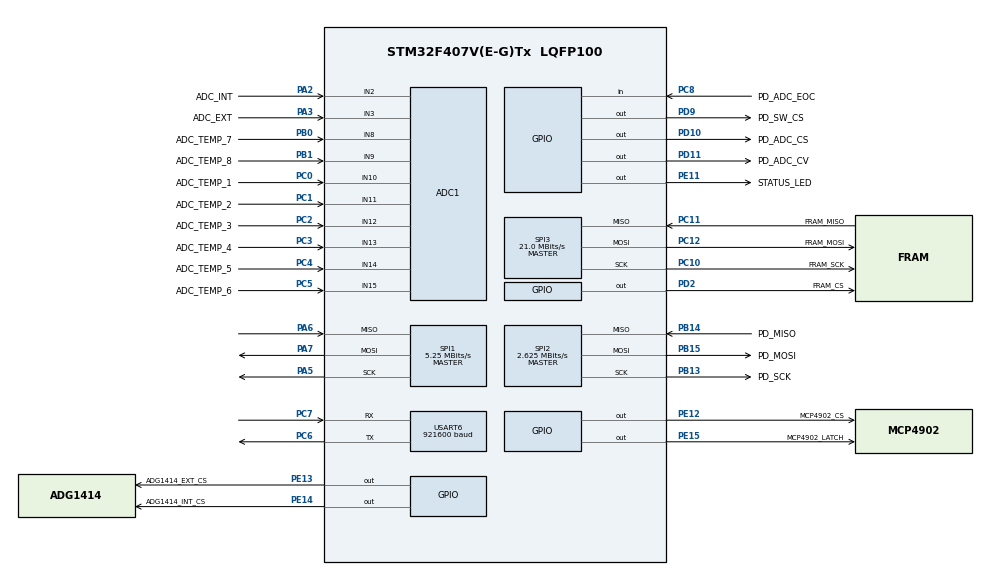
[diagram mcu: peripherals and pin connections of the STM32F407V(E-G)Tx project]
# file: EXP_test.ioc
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ADC1.Channel-0\#ChannelRegularConversion=ADC_CHANNEL_2
ADC1.Channel-1\#ChannelRegularConversion=ADC_CHANNEL_3
ADC1.Channel-2\#ChannelRegularConversion=ADC_CHANNEL_10
ADC1.Channel-3\#ChannelRegularConversion=ADC_CHANNEL_11
ADC1.Channel-4\#ChannelRegularConversion=ADC_CHANNEL_12
ADC1.Channel-5\#ChannelRegularConversion=ADC_CHANNEL_13
ADC1.Channel-6\#ChannelRegularConversion=ADC_CHANNEL_14
ADC1.Channel-7\#ChannelRegularConversion=ADC_CHANNEL_15
ADC1.Channel-8\#ChannelRegularConversion=ADC_CHANNEL_8
ADC1.Channel-9\#ChannelRegularConversion=ADC_CHANNEL_9
ADC1.ContinuousConvMode=ENABLE
ADC1.DMAContinuousRequests=ENABLE
ADC1.DiscontinuousConvMode=DISABLE
ADC1.NbrOfConversion=10
ADC1.NbrOfConversionFlag=1
ADC1.Rank-0\#ChannelRegularConversion=1
ADC1.Rank-1\#ChannelRegularConversion=2
ADC1.Rank-2\#ChannelRegularConversion=3
ADC1.Rank-3\#ChannelRegularConversion=4
ADC1.Rank-4\#ChannelRegularConversion=5
ADC1.Rank-5\#ChannelRegularConversion=6
ADC1.Rank-6\#ChannelRegularConversion=7
ADC1.Rank-7\#ChannelRegularConversion=8
ADC1.Rank-8\#ChannelRegularConversion=9
ADC1.Rank-9\#ChannelRegularConversion=10
ADC1.SamplingTime-0\#ChannelRegularConversion=ADC_SAMPLETIME_15CYCLES
ADC1.SamplingTime-1\#ChannelRegularConversion=ADC_SAMPLETIME_15CYCLES
ADC1.SamplingTime-2\#ChannelRegularConversion=ADC_SAMPLETIME_15CYCLES
ADC1.SamplingTime-3\#ChannelRegularConversion=ADC_SAMPLETIME_15CYCLES
ADC1.SamplingTime-4\#ChannelRegularConversion=ADC_SAMPLETIME_15CYCLES
ADC1.SamplingTime-5\#ChannelRegularConversion=ADC_SAMPLETIME_15CYCLES
ADC1.SamplingTime-6\#ChannelRegularConversion=ADC_SAMPLETIME_15CYCLES
ADC1.SamplingTime-7\#ChannelRegularConversion=ADC_SAMPLETIME_15CYCLES
ADC1.SamplingTime-8\#ChannelRegularConversion=ADC_SAMPLETIME_15CYCLES
ADC1.SamplingTime-9\#ChannelRegularConversion=ADC_SAMPLETIME_15CYCLES
ADC1.master=1
Dma.ADC1.0.Direction=DMA_PERIPH_TO_MEMORY
Dma.ADC1.0.FIFOMode=DMA_FIFOMODE_DISABLE
Dma.ADC1.0.Instance=DMA2_Stream0
Dma.ADC1.0.MemDataAlignment=DMA_MDATAALIGN_HALFWORD
Dma.ADC1.0.MemInc=DMA_MINC_ENABLE
Dma.ADC1.0.Mode=DMA_CIRCULAR
Dma.ADC1.0.PeriphDataAlignment=DMA_PDATAALIGN_HALFWORD
Dma.ADC1.0.PeriphInc=DMA_PINC_DISABLE
Dma.ADC1.0.Priority=DMA_PRIORITY_LOW
Dma.Request0=ADC1
Mcu.Family=STM32F4
Mcu.Name=STM32F407V(E-G)Tx
Mcu.Package=LQFP100
NVIC.DMA2_Stream0_IRQn=true\:0\:0\:false\:false\:true\:false\:true\:true
NVIC.PriorityGroup=NVIC_PRIORITYGROUP_4
NVIC.SPI2_IRQn=true\:0\:0\:false\:false\:true\:true\:true\:true
NVIC.TIM1_UP_TIM10_IRQn=true\:0\:0\:false\:false\:true\:true\:true\:true
NVIC.USART6_IRQn=true\:0\:0\:false\:false\:true\:true\:true\:true
PA13.Mode=Serial_Wire
PA13.Signal=SYS_JTMS-SWDIO
PA14.Mode=Serial_Wire
PA14.Signal=SYS_JTCK-SWCLK
PA2.GPIO_Label=ADC_INT
PA2.Signal=ADCx_IN2
PA3.GPIO_Label=ADC_EXT
PA3.Signal=ADCx_IN3
PA5.Mode=Full_Duplex_Master
PA5.Signal=SPI1_SCK
PA6.Mode=Full_Duplex_Master
PA6.Signal=SPI1_MISO
PA7.Mode=Full_Duplex_Master
PA7.Signal=SPI1_MOSI
PB0.GPIO_Label=ADC_TEMP_7
PB0.Signal=ADCx_IN8
PB1.GPIO_Label=ADC_TEMP_8
PB1.Signal=ADCx_IN9
PB13.GPIO_Label=PD_SCK
PB13.Mode=Full_Duplex_Master
PB13.Signal=SPI2_SCK
PB14.GPIO_Label=PD_MISO
PB14.Mode=Full_Duplex_Master
PB14.Signal=SPI2_MISO
PB15.GPIO_Label=PD_MOSI
PB15.Mode=Full_Duplex_Master
PB15.Signal=SPI2_MOSI
PC0.GPIO_Label=ADC_TEMP_1
PC0.Signal=ADCx_IN10
PC1.GPIO_Label=ADC_TEMP_2
PC1.Signal=ADCx_IN11
PC10.GPIO_Label=FRAM_SCK
PC10.Mode=Full_Duplex_Master
PC10.Signal=SPI3_SCK
PC11.GPIO_Label=FRAM_MISO
PC11.Mode=Full_Duplex_Master
PC11.Signal=SPI3_MISO
PC12.GPIO_Label=FRAM_MOSI
PC12.Mode=Full_Duplex_Master
PC12.Signal=SPI3_MOSI
PC2.GPIO_Label=ADC_TEMP_3
PC2.Signal=ADCx_IN12
PC3.GPIO_Label=ADC_TEMP_4
PC3.Signal=ADCx_IN13
PC4.GPIO_Label=ADC_TEMP_5
PC4.Signal=ADCx_IN14
PC5.GPIO_Label=ADC_TEMP_6
PC5.Signal=ADCx_IN15
PC6.Mode=Asynchronous
PC6.Signal=USART6_TX
PC7.Mode=Asynchronous
PC7.Signal=USART6_RX
PC8.GPIO_Label=PD_ADC_EOC
PC8.GPIO_PuPd=GPIO_PULLUP
PC8.Signal=GPIO_Input
PD10.GPIO_Label=PD_ADC_CS
PD10.GPIO_PuPd=GPIO_NOPULL
PD10.GPIO_Speed=GPIO_SPEED_FREQ_VERY_HIGH
PD10.PinState=GPIO_PIN_SET
PD10.Signal=GPIO_Output
PD11.GPIO_Label=PD_ADC_CV
PD11.GPIO_PuPd=GPIO_NOPULL
PD11.GPIO_Speed=GPIO_SPEED_FREQ_VERY_HIGH
PD11.PinState=GPIO_PIN_SET
PD11.Signal=GPIO_Output
PD2.GPIO_Label=FRAM_CS
PD2.Signal=GPIO_Output
PD9.GPIO_Label=PD_SW_CS
PD9.GPIO_PuPd=GPIO_NOPULL
PD9.PinState=GPIO_PIN_SET
PD9.Signal=GPIO_Output
PE11.GPIO_Label=STATUS_LED
PE11.PinState=GPIO_PIN_SET
PE11.Signal=GPIO_Output
PE12.GPIO_Label=MCP4902_CS
PE12.GPIO_Speed=GPIO_SPEED_FREQ_VERY_HIGH
PE12.PinState=GPIO_PIN_SET
PE12.Signal=GPIO_Output
PE13.GPIO_Label=ADG1414_EXT_CS
PE13.PinState=GPIO_PIN_SET
PE13.Signal=GPIO_Output
PE14.GPIO_Label=ADG1414_INT_CS
PE14.PinState=GPIO_PIN_SET
PE14.Signal=GPIO_Output
PE15.GPIO_Label=MCP4902_LATCH
PE15.PinState=GPIO_PIN_SET
PE15.Signal=GPIO_Output
PH0-OSC_IN.Mode=HSE-External-Oscillator
PH0-OSC_IN.Signal=RCC_OSC_IN
PH1-OSC_OUT.Mode=HSE-External-Oscillator
PH1-OSC_OUT.Signal=RCC_OSC_OUT
ProjectManager.HeapSize=0x200
ProjectManager.StackSize=0x400
ProjectManager.TargetToolchain=STM32CubeIDE
RCC.48MHZClocksFreq_Value=84000000
RCC.AHBFreq_Value=168000000
RCC.APB1CLKDivider=RCC_HCLK_DIV4
RCC.APB1Freq_Value=42000000
RCC.APB1TimFreq_Value=84000000
RCC.APB2CLKDivider=RCC_HCLK_DIV2
RCC.APB2Freq_Value=84000000
RCC.APB2TimFreq_Value=168000000
RCC.CortexFreq_Value=168000000
RCC.HCLKFreq_Value=168000000
RCC.HSE_VALUE=8000000
RCC.HSI_VALUE=16000000
RCC.LSE_VALUE=32768
RCC.PLLM=4
RCC.PLLN=168
RCC.PLLSourceVirtual=RCC_PLLSOURCE_HSE
RCC.SYSCLKFreq_VALUE=168000000
RCC.SYSCLKSource=RCC_SYSCLKSOURCE_PLLCLK
RCC.VCOOutputFreq_Value=336000000
SH.ADCx_IN10.0=ADC1_IN10,IN10
SH.ADCx_IN11.0=ADC1_IN11,IN11
SH.ADCx_IN12.0=ADC1_IN12,IN12
SH.ADCx_IN13.0=ADC1_IN13,IN13
SH.ADCx_IN14.0=ADC1_IN14,IN14
SH.ADCx_IN15.0=ADC1_IN15,IN15
SH.ADCx_IN2.0=ADC1_IN2,IN2
SH.ADCx_IN3.0=ADC1_IN3,IN3
SH.ADCx_IN8.0=ADC1_IN8,IN8
SH.ADCx_IN9.0=ADC1_IN9,IN9
SPI1.BaudRatePrescaler=SPI_BAUDRATEPRESCALER_16
SPI1.CLKPhase=SPI_PHASE_2EDGE
SPI1.CalculateBaudRate=5.25 MBits/s
SPI1.Direction=SPI_DIRECTION_2LINES
SPI1.Mode=SPI_MODE_MASTER
SPI1.VirtualType=VM_MASTER
SPI2.BaudRatePrescaler=SPI_BAUDRATEPRESCALER_16
SPI2.CLKPhase=SPI_PHASE_2EDGE
SPI2.CalculateBaudRate=2.625 MBits/s
SPI2.Direction=SPI_DIRECTION_2LINES
SPI2.Mode=SPI_MODE_MASTER
SPI2.VirtualType=VM_MASTER
SPI3.CalculateBaudRate=21.0 MBits/s
SPI3.DataSize=SPI_DATASIZE_16BIT
SPI3.Direction=SPI_DIRECTION_2LINES
SPI3.Mode=SPI_MODE_MASTER
SPI3.VirtualType=VM_MASTER
TIM1.AutoReloadPreload=TIM_AUTORELOAD_PRELOAD_ENABLE
TIM1.Period=2
TIM1.Prescaler=167
TIM1.TIM_MasterOutputTrigger=TIM_TRGO_RESET
USART6.BaudRate=921600
USART6.VirtualMode=VM_ASYNC
VP_TIM1_VS_ClockSourceINT.Mode=Internal
board=custom

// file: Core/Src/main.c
/* USER CODE BEGIN Header */
/**
  ******************************************************************************
  * @file           : main.c
  * @brief          : Main program body
  ******************************************************************************
  * @attention
  *
  * Copyright (c) 2025 STMicroelectronics.
  * All rights reserved.
  *
  * This software is licensed under terms that can be found in the LICENSE file
  * in the root directory of this software component.
  * If no LICENSE file comes with this software, it is provided AS-IS.
  *
  ******************************************************************************
  */
/* USER CODE END Header */
#include "main.h"

/* USER CODE BEGIN Includes */
#include "scheduler.h"
#include "command.h"
/* USER CODE END Includes */

/* USER CODE BEGIN PD */
uint16_t adc_rec_buf[50010];
uint16_t *adc_ptr = adc_rec_buf;
uint32_t adc_rec_ind = 0;
uint32_t adc_rec_total = 0;
/* USER CODE END PD */

/* USER CODE BEGIN PV */
MCP4902_Device_t DAC_device;
ADG1414_Device_t laser_int;
ADG1414_Device_t laser_ext;
ADC_DMA_Device_t mcu_adc;
ADG1414_Device_t photo_sw;
ADS8327_Device_t photo_adc;
/* USER CODE END PV */

void SystemClock_Config(void);
static void MX_GPIO_Init(void);
static void MX_DMA_Init(void);
static void MX_SPI1_Init(void);
static void MX_USART6_UART_Init(void);
static void MX_ADC1_Init(void);
static void MX_SPI2_Init(void);
static void MX_TIM1_Init(void);
static void MX_SPI3_Init(void);

/* USER CODE BEGIN 0 */

static void Status_Led(void*);

#define         SCHEDULER_TASK_COUNT  2
uint32_t g_ui32SchedulerNumTasks = SCHEDULER_TASK_COUNT;
tSchedulerTask g_psSchedulerTable[SCHEDULER_TASK_COUNT] = {
    {
        .pfnFunction = Status_Led,           // Hàm điều khiển LED trạng thái
        .pvParam = (void*)0,                 // Không có tham số
        .ui32FrequencyTicks = 500,           // Gọi mỗi 500ms (500 tick, giả sử 1 tick = 1ms)
        .ui32LastCall = 0,                   // Khởi tạo thời điểm gọi lần cuối
        .bActive = true                      // Kích hoạt
    },
    {
        .pfnFunction = command_task_update, // Hàm xử lý lệnh UART
        .pvParam = (void*)0,                 // Không có tham số
        .ui32FrequencyTicks = 10,             // Gọi mỗi 10ms (10 tick, giả sử 1 tick = 1ms)
        .ui32LastCall = 0,                   // Khởi tạo thời điểm gọi lần cuối
        .bActive = true                      // Kích hoạt
    }
};

void Status_Led(void*)
{
	LL_GPIO_TogglePin(GPIOE, LL_GPIO_PIN_11);
}

/* USER CODE END 0 */

int main(void)
{

  /* MCU Configuration--------------------------------------------------------*/

  /* Reset of all peripherals, Initializes the Flash interface and the Systick. */
  LL_APB2_GRP1_EnableClock(LL_APB2_GRP1_PERIPH_SYSCFG);
  LL_APB1_GRP1_EnableClock(LL_APB1_GRP1_PERIPH_PWR);

  /* System interrupt init*/
  NVIC_SetPriorityGrouping(NVIC_PRIORITYGROUP_4);

  /* SysTick_IRQn interrupt configuration */
  NVIC_SetPriority(SysTick_IRQn, NVIC_EncodePriority(NVIC_GetPriorityGrouping(),15, 0));

  /* Configure the system clock */
  SystemClock_Config();

  /* Initialize all configured peripherals */
  MX_GPIO_Init();
  MX_DMA_Init();
  MX_SPI1_Init();
  MX_USART6_UART_Init();
  MX_ADC1_Init();
  MX_SPI2_Init();
  MX_TIM1_Init();
  MX_SPI3_Init();
  /* USER CODE BEGIN 2 */

  MCP4902_Device_Init(&DAC_device, SPI1, MCP4902_CS_GPIO_Port, MCP4902_CS_Pin, MCP4902_LATCH_GPIO_Port, MCP4902_LATCH_Pin);

  ADG1414_Chain_Init(&laser_int, SPI1, ADG1414_INT_CS_GPIO_Port, ADG1414_INT_CS_Pin, INTERNAL_CHAIN_SWITCH_NUM);
  ADG1414_Chain_Init(&laser_ext, SPI1, ADG1414_EXT_CS_GPIO_Port, ADG1414_EXT_CS_Pin, EXTERNAL_CHAIN_SWITCH_NUM);

  ADC_DMA_Init(&mcu_adc, ADC1, DMA2, LL_DMA_STREAM_0, 10);

  ADG1414_Chain_Init(&photo_sw, SPI2, PD_SW_CS_GPIO_Port, PD_SW_CS_Pin, INTERNAL_CHAIN_SWITCH_NUM);
  ADS8327_Device_Init(&photo_adc, SPI2, PD_ADC_CS_GPIO_Port, PD_ADC_CS_Pin, PD_ADC_CV_GPIO_Port, PD_ADC_CV_Pin, PD_ADC_EOC_GPIO_Port, PD_ADC_EOC_Pin);
//  LL_TIM_EnableIT_UPDATE(TIM1);  // Bật ngắt Update
//  LL_TIM_EnableCounter(TIM1);    // Bật timer

  SchedulerInit(1000);
  command_init();

  /* USER CODE END 2 */

  /* Infinite loop */
  while (1)
  {

    /* USER CODE BEGIN 3 */
	  SchedulerRun();
  }
  /* USER CODE END 3 */
}

void SystemClock_Config(void)
{
  LL_FLASH_SetLatency(LL_FLASH_LATENCY_5);
  while(LL_FLASH_GetLatency()!= LL_FLASH_LATENCY_5)
  {
  }
  LL_PWR_SetRegulVoltageScaling(LL_PWR_REGU_VOLTAGE_SCALE1);
  LL_RCC_HSE_Enable();

   /* Wait till HSE is ready */
  while(LL_RCC_HSE_IsReady() != 1)
  {

  }
  LL_RCC_PLL_ConfigDomain_SYS(LL_RCC_PLLSOURCE_HSE, LL_RCC_PLLM_DIV_4, 168, LL_RCC_PLLP_DIV_2);
  LL_RCC_PLL_Enable();

   /* Wait till PLL is ready */
  while(LL_RCC_PLL_IsReady() != 1)
  {

  }
  while (LL_PWR_IsActiveFlag_VOS() == 0)
  {
  }
  LL_RCC_SetAHBPrescaler(LL_RCC_SYSCLK_DIV_1);
  LL_RCC_SetAPB1Prescaler(LL_RCC_APB1_DIV_4);
  LL_RCC_SetAPB2Prescaler(LL_RCC_APB2_DIV_2);
  LL_RCC_SetSysClkSource(LL_RCC_SYS_CLKSOURCE_PLL);

   /* Wait till System clock is ready */
  while(LL_RCC_GetSysClkSource() != LL_RCC_SYS_CLKSOURCE_STATUS_PLL)
  {

  }
  LL_Init1msTick(168000000);
  LL_SetSystemCoreClock(168000000);
}

static void MX_ADC1_Init(void)
{

  LL_ADC_InitTypeDef ADC_InitStruct = {0};
  LL_ADC_REG_InitTypeDef ADC_REG_InitStruct = {0};
  LL_ADC_CommonInitTypeDef ADC_CommonInitStruct = {0};

  LL_GPIO_InitTypeDef GPIO_InitStruct = {0};

  /* Peripheral clock enable */
  LL_APB2_GRP1_EnableClock(LL_APB2_GRP1_PERIPH_ADC1);

  LL_AHB1_GRP1_EnableClock(LL_AHB1_GRP1_PERIPH_GPIOC);
  LL_AHB1_GRP1_EnableClock(LL_AHB1_GRP1_PERIPH_GPIOA);
  LL_AHB1_GRP1_EnableClock(LL_AHB1_GRP1_PERIPH_GPIOB);
  /**ADC1 GPIO Configuration
  PC0   ------> ADC1_IN10
  PC1   ------> ADC1_IN11
  PC2   ------> ADC1_IN12
  PC3   ------> ADC1_IN13
  PA2   ------> ADC1_IN2
  PA3   ------> ADC1_IN3
  PC4   ------> ADC1_IN14
  PC5   ------> ADC1_IN15
  PB0   ------> ADC1_IN8
  PB1   ------> ADC1_IN9
  */
  GPIO_InitStruct.Pin = ADC_TEMP_1_Pin|ADC_TEMP_2_Pin|ADC_TEMP_3_Pin|ADC_TEMP_4_Pin
                          |ADC_TEMP_5_Pin|ADC_TEMP_6_Pin;
  GPIO_InitStruct.Mode = LL_GPIO_MODE_ANALOG;
  GPIO_InitStruct.Pull = LL_GPIO_PULL_NO;
  LL_GPIO_Init(GPIOC, &GPIO_InitStruct);

  GPIO_InitStruct.Pin = ADC_INT_Pin|ADC_EXT_Pin;
  GPIO_InitStruct.Mode = LL_GPIO_MODE_ANALOG;
  GPIO_InitStruct.Pull = LL_GPIO_PULL_NO;
  LL_GPIO_Init(GPIOA, &GPIO_InitStruct);

  GPIO_InitStruct.Pin = ADC_TEMP_7_Pin|ADC_TEMP_8_Pin;
  GPIO_InitStruct.Mode = LL_GPIO_MODE_ANALOG;
  GPIO_InitStruct.Pull = LL_GPIO_PULL_NO;
  LL_GPIO_Init(GPIOB, &GPIO_InitStruct);

  /* ADC1 DMA Init */

  /* ADC1 Init */
  LL_DMA_SetChannelSelection(DMA2, LL_DMA_STREAM_0, LL_DMA_CHANNEL_0);

  LL_DMA_SetDataTransferDirection(DMA2, LL_DMA_STREAM_0, LL_DMA_DIRECTION_PERIPH_TO_MEMORY);

  LL_DMA_SetStreamPriorityLevel(DMA2, LL_DMA_STREAM_0, LL_DMA_PRIORITY_LOW);

  LL_DMA_SetMode(DMA2, LL_DMA_STREAM_0, LL_DMA_MODE_CIRCULAR);

  LL_DMA_SetPeriphIncMode(DMA2, LL_DMA_STREAM_0, LL_DMA_PERIPH_NOINCREMENT);

  LL_DMA_SetMemoryIncMode(DMA2, LL_DMA_STREAM_0, LL_DMA_MEMORY_INCREMENT);

  LL_DMA_SetPeriphSize(DMA2, LL_DMA_STREAM_0, LL_DMA_PDATAALIGN_HALFWORD);

  LL_DMA_SetMemorySize(DMA2, LL_DMA_STREAM_0, LL_DMA_MDATAALIGN_HALFWORD);

  LL_DMA_DisableFifoMode(DMA2, LL_DMA_STREAM_0);

  /** Common config
  */
  ADC_InitStruct.Resolution = LL_ADC_RESOLUTION_12B;
  ADC_InitStruct.DataAlignment = LL_ADC_DATA_ALIGN_RIGHT;
  ADC_InitStruct.SequencersScanMode = LL_ADC_SEQ_SCAN_ENABLE;
  LL_ADC_Init(ADC1, &ADC_InitStruct);
  ADC_REG_InitStruct.TriggerSource = LL_ADC_REG_TRIG_SOFTWARE;
  ADC_REG_InitStruct.SequencerLength = LL_ADC_REG_SEQ_SCAN_ENABLE_10RANKS;
  ADC_REG_InitStruct.SequencerDiscont = LL_ADC_REG_SEQ_DISCONT_DISABLE;
  ADC_REG_InitStruct.ContinuousMode = LL_ADC_REG_CONV_CONTINUOUS;
  ADC_REG_InitStruct.DMATransfer = LL_ADC_REG_DMA_TRANSFER_UNLIMITED;
  LL_ADC_REG_Init(ADC1, &ADC_REG_InitStruct);
  LL_ADC_REG_SetFlagEndOfConversion(ADC1, LL_ADC_REG_FLAG_EOC_UNITARY_CONV);
  ADC_CommonInitStruct.CommonClock = LL_ADC_CLOCK_SYNC_PCLK_DIV4;
  ADC_CommonInitStruct.Multimode = LL_ADC_MULTI_INDEPENDENT;
  LL_ADC_CommonInit(__LL_ADC_COMMON_INSTANCE(ADC1), &ADC_CommonInitStruct);

  /** Configure Regular Channel
  */
  LL_ADC_REG_SetSequencerRanks(ADC1, LL_ADC_REG_RANK_1, LL_ADC_CHANNEL_2);
  LL_ADC_SetChannelSamplingTime(ADC1, LL_ADC_CHANNEL_2, LL_ADC_SAMPLINGTIME_15CYCLES);

  /** Configure Regular Channel
  */
  LL_ADC_REG_SetSequencerRanks(ADC1, LL_ADC_REG_RANK_2, LL_ADC_CHANNEL_3);
  LL_ADC_SetChannelSamplingTime(ADC1, LL_ADC_CHANNEL_3, LL_ADC_SAMPLINGTIME_15CYCLES);

  /** Configure Regular Channel
  */
  LL_ADC_REG_SetSequencerRanks(ADC1, LL_ADC_REG_RANK_3, LL_ADC_CHANNEL_10);
  LL_ADC_SetChannelSamplingTime(ADC1, LL_ADC_CHANNEL_10, LL_ADC_SAMPLINGTIME_15CYCLES);

  /** Configure Regular Channel
  */
  LL_ADC_REG_SetSequencerRanks(ADC1, LL_ADC_REG_RANK_4, LL_ADC_CHANNEL_11);
  LL_ADC_SetChannelSamplingTime(ADC1, LL_ADC_CHANNEL_11, LL_ADC_SAMPLINGTIME_15CYCLES);

  /** Configure Regular Channel
  */
  LL_ADC_REG_SetSequencerRanks(ADC1, LL_ADC_REG_RANK_5, LL_ADC_CHANNEL_12);
  LL_ADC_SetChannelSamplingTime(ADC1, LL_ADC_CHANNEL_12, LL_ADC_SAMPLINGTIME_15CYCLES);

  /** Configure Regular Channel
  */
  LL_ADC_REG_SetSequencerRanks(ADC1, LL_ADC_REG_RANK_6, LL_ADC_CHANNEL_13);
  LL_ADC_SetChannelSamplingTime(ADC1, LL_ADC_CHANNEL_13, LL_ADC_SAMPLINGTIME_15CYCLES);

  /** Configure Regular Channel
  */
  LL_ADC_REG_SetSequencerRanks(ADC1, LL_ADC_REG_RANK_7, LL_ADC_CHANNEL_14);
  LL_ADC_SetChannelSamplingTime(ADC1, LL_ADC_CHANNEL_14, LL_ADC_SAMPLINGTIME_15CYCLES);

  /** Configure Regular Channel
  */
  LL_ADC_REG_SetSequencerRanks(ADC1, LL_ADC_REG_RANK_8, LL_ADC_CHANNEL_15);
  LL_ADC_SetChannelSamplingTime(ADC1, LL_ADC_CHANNEL_15, LL_ADC_SAMPLINGTIME_15CYCLES);

  /** Configure Regular Channel
  */
  LL_ADC_REG_SetSequencerRanks(ADC1, LL_ADC_REG_RANK_9, LL_ADC_CHANNEL_8);
  LL_ADC_SetChannelSamplingTime(ADC1, LL_ADC_CHANNEL_8, LL_ADC_SAMPLINGTIME_15CYCLES);

  /** Configure Regular Channel
  */
  LL_ADC_REG_SetSequencerRanks(ADC1, LL_ADC_REG_RANK_10, LL_ADC_CHANNEL_9);
  LL_ADC_SetChannelSamplingTime(ADC1, LL_ADC_CHANNEL_9, LL_ADC_SAMPLINGTIME_15CYCLES);

}

static void MX_SPI1_Init(void)
{

  LL_SPI_InitTypeDef SPI_InitStruct = {0};

  LL_GPIO_InitTypeDef GPIO_InitStruct = {0};

  /* Peripheral clock enable */
  LL_APB2_GRP1_EnableClock(LL_APB2_GRP1_PERIPH_SPI1);

  LL_AHB1_GRP1_EnableClock(LL_AHB1_GRP1_PERIPH_GPIOA);
  /**SPI1 GPIO Configuration
  PA5   ------> SPI1_SCK
  PA6   ------> SPI1_MISO
  PA7   ------> SPI1_MOSI
  */
  GPIO_InitStruct.Pin = LL_GPIO_PIN_5|LL_GPIO_PIN_6|LL_GPIO_PIN_7;
  GPIO_InitStruct.Mode = LL_GPIO_MODE_ALTERNATE;
  GPIO_InitStruct.Speed = LL_GPIO_SPEED_FREQ_VERY_HIGH;
  GPIO_InitStruct.OutputType = LL_GPIO_OUTPUT_PUSHPULL;
  GPIO_InitStruct.Pull = LL_GPIO_PULL_NO;
  GPIO_InitStruct.Alternate = LL_GPIO_AF_5;
  LL_GPIO_Init(GPIOA, &GPIO_InitStruct);

  /* SPI1 parameter configuration*/
  SPI_InitStruct.TransferDirection = LL_SPI_FULL_DUPLEX;
  SPI_InitStruct.Mode = LL_SPI_MODE_MASTER;
  SPI_InitStruct.DataWidth = LL_SPI_DATAWIDTH_8BIT;
  SPI_InitStruct.ClockPolarity = LL_SPI_POLARITY_LOW;
  SPI_InitStruct.ClockPhase = LL_SPI_PHASE_2EDGE;
  SPI_InitStruct.NSS = LL_SPI_NSS_SOFT;
  SPI_InitStruct.BaudRate = LL_SPI_BAUDRATEPRESCALER_DIV16;
  SPI_InitStruct.BitOrder = LL_SPI_MSB_FIRST;
  SPI_InitStruct.CRCCalculation = LL_SPI_CRCCALCULATION_DISABLE;
  SPI_InitStruct.CRCPoly = 10;
  LL_SPI_Init(SPI1, &SPI_InitStruct);
  LL_SPI_SetStandard(SPI1, LL_SPI_PROTOCOL_MOTOROLA);

}

static void MX_SPI2_Init(void)
{

  LL_SPI_InitTypeDef SPI_InitStruct = {0};

  LL_GPIO_InitTypeDef GPIO_InitStruct = {0};

  /* Peripheral clock enable */
  LL_APB1_GRP1_EnableClock(LL_APB1_GRP1_PERIPH_SPI2);

  LL_AHB1_GRP1_EnableClock(LL_AHB1_GRP1_PERIPH_GPIOB);
  /**SPI2 GPIO Configuration
  PB13   ------> SPI2_SCK
  PB14   ------> SPI2_MISO
  PB15   ------> SPI2_MOSI
  */
  GPIO_InitStruct.Pin = PD_SCK_Pin|PD_MISO_Pin|PD_MOSI_Pin;
  GPIO_InitStruct.Mode = LL_GPIO_MODE_ALTERNATE;
  GPIO_InitStruct.Speed = LL_GPIO_SPEED_FREQ_VERY_HIGH;
  GPIO_InitStruct.OutputType = LL_GPIO_OUTPUT_PUSHPULL;
  GPIO_InitStruct.Pull = LL_GPIO_PULL_NO;
  GPIO_InitStruct.Alternate = LL_GPIO_AF_5;
  LL_GPIO_Init(GPIOB, &GPIO_InitStruct);

  /* SPI2 interrupt Init */
  NVIC_SetPriority(SPI2_IRQn, NVIC_EncodePriority(NVIC_GetPriorityGrouping(),0, 0));
  NVIC_EnableIRQ(SPI2_IRQn);

  /* SPI2 parameter configuration*/
  SPI_InitStruct.TransferDirection = LL_SPI_FULL_DUPLEX;
  SPI_InitStruct.Mode = LL_SPI_MODE_MASTER;
  SPI_InitStruct.DataWidth = LL_SPI_DATAWIDTH_8BIT;
  SPI_InitStruct.ClockPolarity = LL_SPI_POLARITY_LOW;
  SPI_InitStruct.ClockPhase = LL_SPI_PHASE_2EDGE;
  SPI_InitStruct.NSS = LL_SPI_NSS_SOFT;
  SPI_InitStruct.BaudRate = LL_SPI_BAUDRATEPRESCALER_DIV16;
  SPI_InitStruct.BitOrder = LL_SPI_MSB_FIRST;
  SPI_InitStruct.CRCCalculation = LL_SPI_CRCCALCULATION_DISABLE;
  SPI_InitStruct.CRCPoly = 10;
  LL_SPI_Init(SPI2, &SPI_InitStruct);
  LL_SPI_SetStandard(SPI2, LL_SPI_PROTOCOL_MOTOROLA);

}

static void MX_SPI3_Init(void)
{

  LL_SPI_InitTypeDef SPI_InitStruct = {0};

  LL_GPIO_InitTypeDef GPIO_InitStruct = {0};

  /* Peripheral clock enable */
  LL_APB1_GRP1_EnableClock(LL_APB1_GRP1_PERIPH_SPI3);

  LL_AHB1_GRP1_EnableClock(LL_AHB1_GRP1_PERIPH_GPIOC);
  /**SPI3 GPIO Configuration
  PC10   ------> SPI3_SCK
  PC11   ------> SPI3_MISO
  PC12   ------> SPI3_MOSI
  */
  GPIO_InitStruct.Pin = FRAM_SCK_Pin|FRAM_MISO_Pin|FRAM_MOSI_Pin;
  GPIO_InitStruct.Mode = LL_GPIO_MODE_ALTERNATE;
  GPIO_InitStruct.Speed = LL_GPIO_SPEED_FREQ_VERY_HIGH;
  GPIO_InitStruct.OutputType = LL_GPIO_OUTPUT_PUSHPULL;
  GPIO_InitStruct.Pull = LL_GPIO_PULL_NO;
  GPIO_InitStruct.Alternate = LL_GPIO_AF_6;
  LL_GPIO_Init(GPIOC, &GPIO_InitStruct);

  /* SPI3 parameter configuration*/
  SPI_InitStruct.TransferDirection = LL_SPI_FULL_DUPLEX;
  SPI_InitStruct.Mode = LL_SPI_MODE_MASTER;
  SPI_InitStruct.DataWidth = LL_SPI_DATAWIDTH_16BIT;
  SPI_InitStruct.ClockPolarity = LL_SPI_POLARITY_LOW;
  SPI_InitStruct.ClockPhase = LL_SPI_PHASE_1EDGE;
  SPI_InitStruct.NSS = LL_SPI_NSS_SOFT;
  SPI_InitStruct.BaudRate = LL_SPI_BAUDRATEPRESCALER_DIV2;
  SPI_InitStruct.BitOrder = LL_SPI_MSB_FIRST;
  SPI_InitStruct.CRCCalculation = LL_SPI_CRCCALCULATION_DISABLE;
  SPI_InitStruct.CRCPoly = 10;
  LL_SPI_Init(SPI3, &SPI_InitStruct);
  LL_SPI_SetStandard(SPI3, LL_SPI_PROTOCOL_MOTOROLA);

}

static void MX_TIM1_Init(void)
{

  LL_TIM_InitTypeDef TIM_InitStruct = {0};

  /* Peripheral clock enable */
  LL_APB2_GRP1_EnableClock(LL_APB2_GRP1_PERIPH_TIM1);

  /* TIM1 interrupt Init */
  NVIC_SetPriority(TIM1_UP_TIM10_IRQn, NVIC_EncodePriority(NVIC_GetPriorityGrouping(),0, 0));
  NVIC_EnableIRQ(TIM1_UP_TIM10_IRQn);

  TIM_InitStruct.Prescaler = 167;
  TIM_InitStruct.CounterMode = LL_TIM_COUNTERMODE_UP;
  TIM_InitStruct.Autoreload = 2;
  TIM_InitStruct.ClockDivision = LL_TIM_CLOCKDIVISION_DIV1;
  TIM_InitStruct.RepetitionCounter = 0;
  LL_TIM_Init(TIM1, &TIM_InitStruct);
  LL_TIM_EnableARRPreload(TIM1);
  LL_TIM_SetClockSource(TIM1, LL_TIM_CLOCKSOURCE_INTERNAL);
  LL_TIM_SetTriggerOutput(TIM1, LL_TIM_TRGO_RESET);
  LL_TIM_DisableMasterSlaveMode(TIM1);

}

static void MX_USART6_UART_Init(void)
{

  LL_USART_InitTypeDef USART_InitStruct = {0};

  LL_GPIO_InitTypeDef GPIO_InitStruct = {0};

  /* Peripheral clock enable */
  LL_APB2_GRP1_EnableClock(LL_APB2_GRP1_PERIPH_USART6);

  LL_AHB1_GRP1_EnableClock(LL_AHB1_GRP1_PERIPH_GPIOC);
  /**USART6 GPIO Configuration
  PC6   ------> USART6_TX
  PC7   ------> USART6_RX
  */
  GPIO_InitStruct.Pin = LL_GPIO_PIN_6|LL_GPIO_PIN_7;
  GPIO_InitStruct.Mode = LL_GPIO_MODE_ALTERNATE;
  GPIO_InitStruct.Speed = LL_GPIO_SPEED_FREQ_VERY_HIGH;
  GPIO_InitStruct.OutputType = LL_GPIO_OUTPUT_PUSHPULL;
  GPIO_InitStruct.Pull = LL_GPIO_PULL_NO;
  GPIO_InitStruct.Alternate = LL_GPIO_AF_8;
  LL_GPIO_Init(GPIOC, &GPIO_InitStruct);

  /* USART6 interrupt Init */
  NVIC_SetPriority(USART6_IRQn, NVIC_EncodePriority(NVIC_GetPriorityGrouping(),0, 0));
  NVIC_EnableIRQ(USART6_IRQn);

  USART_InitStruct.BaudRate = 921600;
  USART_InitStruct.DataWidth = LL_USART_DATAWIDTH_8B;
  USART_InitStruct.StopBits = LL_USART_STOPBITS_1;
  USART_InitStruct.Parity = LL_USART_PARITY_NONE;
  USART_InitStruct.TransferDirection = LL_USART_DIRECTION_TX_RX;
  USART_InitStruct.HardwareFlowControl = LL_USART_HWCONTROL_NONE;
  USART_InitStruct.OverSampling = LL_USART_OVERSAMPLING_16;
  LL_USART_Init(USART6, &USART_InitStruct);
  LL_USART_ConfigAsyncMode(USART6);
  LL_USART_Enable(USART6);

}

static void MX_DMA_Init(void)
{

  /* Init with LL driver */
  /* DMA controller clock enable */
  LL_AHB1_GRP1_EnableClock(LL_AHB1_GRP1_PERIPH_DMA2);

  /* DMA interrupt init */
  /* DMA2_Stream0_IRQn interrupt configuration */
  NVIC_SetPriority(DMA2_Stream0_IRQn, NVIC_EncodePriority(NVIC_GetPriorityGrouping(),0, 0));
  NVIC_EnableIRQ(DMA2_Stream0_IRQn);

}

static void MX_GPIO_Init(void)
{
  LL_GPIO_InitTypeDef GPIO_InitStruct = {0};

  /* GPIO Ports Clock Enable */
  LL_AHB1_GRP1_EnableClock(LL_AHB1_GRP1_PERIPH_GPIOH);
  LL_AHB1_GRP1_EnableClock(LL_AHB1_GRP1_PERIPH_GPIOC);
  LL_AHB1_GRP1_EnableClock(LL_AHB1_GRP1_PERIPH_GPIOA);
  LL_AHB1_GRP1_EnableClock(LL_AHB1_GRP1_PERIPH_GPIOB);
  LL_AHB1_GRP1_EnableClock(LL_AHB1_GRP1_PERIPH_GPIOE);
  LL_AHB1_GRP1_EnableClock(LL_AHB1_GRP1_PERIPH_GPIOD);

  /**/
  LL_GPIO_SetOutputPin(GPIOE, STATUS_LED_Pin|MCP4902_CS_Pin|ADG1414_EXT_CS_Pin|ADG1414_INT_CS_Pin
                          |MCP4902_LATCH_Pin);

  /**/
  LL_GPIO_SetOutputPin(GPIOD, PD_SW_CS_Pin|PD_ADC_CS_Pin|PD_ADC_CV_Pin);

  /**/
  LL_GPIO_ResetOutputPin(FRAM_CS_GPIO_Port, FRAM_CS_Pin);

  /**/
  GPIO_InitStruct.Pin = STATUS_LED_Pin|ADG1414_EXT_CS_Pin|ADG1414_INT_CS_Pin|MCP4902_LATCH_Pin;
  GPIO_InitStruct.Mode = LL_GPIO_MODE_OUTPUT;
  GPIO_InitStruct.Speed = LL_GPIO_SPEED_FREQ_LOW;
  GPIO_InitStruct.OutputType = LL_GPIO_OUTPUT_PUSHPULL;
  GPIO_InitStruct.Pull = LL_GPIO_PULL_NO;
  LL_GPIO_Init(GPIOE, &GPIO_InitStruct);

  /**/
  GPIO_InitStruct.Pin = MCP4902_CS_Pin;
  GPIO_InitStruct.Mode = LL_GPIO_MODE_OUTPUT;
  GPIO_InitStruct.Speed = LL_GPIO_SPEED_FREQ_VERY_HIGH;
  GPIO_InitStruct.OutputType = LL_GPIO_OUTPUT_PUSHPULL;
  GPIO_InitStruct.Pull = LL_GPIO_PULL_NO;
  LL_GPIO_Init(MCP4902_CS_GPIO_Port, &GPIO_InitStruct);

  /**/
  GPIO_InitStruct.Pin = PD_SW_CS_Pin|FRAM_CS_Pin;
  GPIO_InitStruct.Mode = LL_GPIO_MODE_OUTPUT;
  GPIO_InitStruct.Speed = LL_GPIO_SPEED_FREQ_LOW;
  GPIO_InitStruct.OutputType = LL_GPIO_OUTPUT_PUSHPULL;
  GPIO_InitStruct.Pull = LL_GPIO_PULL_NO;
  LL_GPIO_Init(GPIOD, &GPIO_InitStruct);

  /**/
  GPIO_InitStruct.Pin = PD_ADC_CS_Pin|PD_ADC_CV_Pin;
  GPIO_InitStruct.Mode = LL_GPIO_MODE_OUTPUT;
  GPIO_InitStruct.Speed = LL_GPIO_SPEED_FREQ_VERY_HIGH;
  GPIO_InitStruct.OutputType = LL_GPIO_OUTPUT_PUSHPULL;
  GPIO_InitStruct.Pull = LL_GPIO_PULL_NO;
  LL_GPIO_Init(GPIOD, &GPIO_InitStruct);

  /**/
  GPIO_InitStruct.Pin = PD_ADC_EOC_Pin;
  GPIO_InitStruct.Mode = LL_GPIO_MODE_INPUT;
  GPIO_InitStruct.Pull = LL_GPIO_PULL_UP;
  LL_GPIO_Init(PD_ADC_EOC_GPIO_Port, &GPIO_InitStruct);

}

void Error_Handler(void)
{
  __disable_irq();
  while (1)
  {
  }
}
